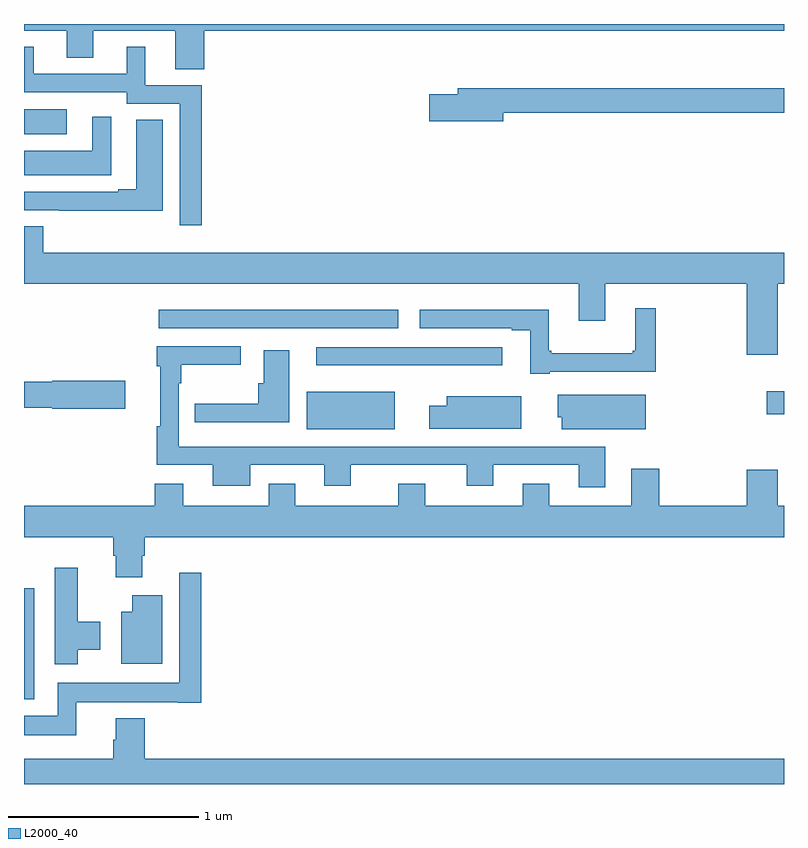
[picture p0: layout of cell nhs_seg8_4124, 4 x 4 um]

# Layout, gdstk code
import gdstk
lib = gdstk.Library(unit=1e-6, precision=1e-09)
def R(c, l, rs):  # rectangles x0, y0, x1, y1
    for r in rs: c.add(gdstk.rectangle(r[:2], r[2:], *l))
def P(c, l, *ps):  # polygons
    for p in ps: c.add(gdstk.Polygon(p, *l))
L2000_40 = (2000, 40)

nhs_seg8_4124 = lib.new_cell('nhs_seg8_4124')
R(nhs_seg8_4124, L2000_40, [(365,1082.345,365.055,1082.929), (366.488,1083.767,366.952,1083.964), (368.91,1083.845,369,1083.967), (366.537,1084.103,367.516,1084.2), (365.709,1084.299,366.97,1084.396), (365,1085.321,365.224,1085.452)])
P(nhs_seg8_4124, L2000_40, [(365,1085.864),(365.225,1085.864),(365.225,1085.722),(365.365,1085.722),(365.365,1085.864),(365.795,1085.864),(365.795,1085.662),(365.948,1085.662),(365.948,1085.864),(369,1085.864),(369,1085.9),(365,1085.9)],
  [(365.936,1085.577),(365.638,1085.577),(365.638,1085.779),(365.54,1085.779),(365.54,1085.637),(365.05,1085.637),(365.05,1085.779),(365,1085.779),(365,1085.541),(365.541,1085.541),(365.541,1085.481),(365.82,1085.481),(365.82,1084.842),(365.936,1084.842)],
  [(367.522,1085.434),(369,1085.434),(369,1085.563),(367.283,1085.563),(367.283,1085.529),(367.134,1085.529),(367.134,1085.387),(367.522,1085.387)],
  [(365.458,1085.413),(365.36,1085.413),(365.36,1085.233),(365,1085.233),(365,1085.105),(365.458,1085.105)],
  [(365.731,1085.395),(365.591,1085.395),(365.591,1085.029),(365.495,1085.029),(365.495,1085.016),(365,1085.016),(365,1084.92),(365.185,1084.92),(365.185,1084.918),(365.731,1084.918)],
  [(368.968,1084.532),(369,1084.532),(369,1084.696),(365.102,1084.696),(365.102,1084.835),(365,1084.835),(365,1084.532),(367.919,1084.532),(367.919,1084.338),(368.059,1084.338),(368.059,1084.532),(368.804,1084.532),(368.804,1084.158),(368.968,1084.158)],
  [(367.768,1084.071),(368.326,1084.071),(368.326,1084.405),(368.216,1084.405),(368.216,1084.18),(368.205,1084.18),(368.205,1084.168),(367.774,1084.168),(367.774,1084.18),(367.762,1084.18),(367.762,1084.396),(367.083,1084.396),(367.083,1084.299),(367.568,1084.299),(367.568,1084.287),(367.664,1084.287),(367.664,1084.059),(367.768,1084.059)],
  [(368.059,1083.675),(365.814,1083.675),(365.814,1084.01),(365.827,1084.01),(365.827,1084.106),(366.142,1084.106),(366.142,1084.203),(365.698,1084.203),(365.698,1084.1),(365.717,1084.1),(365.717,1083.782),(365.698,1083.782),(365.698,1083.579),(365.993,1083.579),(365.993,1083.47),(366.19,1083.47),(366.19,1083.579),(366.581,1083.579),(366.581,1083.47),(366.721,1083.47),(366.721,1083.579),(367.331,1083.579),(367.331,1083.47),(367.471,1083.47),(367.471,1083.579),(367.919,1083.579),(367.919,1083.462),(368.059,1083.462)],
  [(366.397,1084.183),(366.263,1084.183),(366.263,1084.009),(366.233,1084.009),(366.233,1083.902),(365.899,1083.902),(365.899,1083.805),(366.007,1083.805),(366.007,1083.804),(366.397,1083.804)],
  [(365.533,1084.022),(365.148,1084.022),(365.148,1084.016),(365,1084.016),(365,1083.88),(365.148,1083.88),(365.148,1083.875),(365.533,1083.875)],
  [(368.272,1083.949),(367.808,1083.949),(367.808,1083.831),(367.829,1083.831),(367.829,1083.767),(368.272,1083.767)],
  [(367.618,1083.94),(367.226,1083.94),(367.226,1083.892),(367.134,1083.892),(367.134,1083.77),(367.618,1083.77)],
  [(365.623,1083.102),(365.636,1083.102),(365.636,1083.2),(369,1083.2),(369,1083.364),(368.968,1083.364),(368.968,1083.553),(368.804,1083.553),(368.804,1083.364),(368.343,1083.364),(368.343,1083.559),(368.195,1083.559),(368.195,1083.364),(367.765,1083.364),(367.765,1083.481),(367.625,1083.481),(367.625,1083.364),(367.111,1083.364),(367.111,1083.481),(366.971,1083.481),(366.971,1083.364),(366.427,1083.364),(366.427,1083.481),(366.287,1083.481),(366.287,1083.364),(365.839,1083.364),(365.839,1083.481),(365.687,1083.481),(365.687,1083.364),(365,1083.364),(365,1083.2),(365.471,1083.2),(365.471,1083.102),(365.483,1083.102),(365.483,1082.988),(365.623,1082.988)],
  [(365.284,1082.606),(365.401,1082.606),(365.401,1082.754),(365.284,1082.754),(365.284,1083.037),(365.162,1083.037),(365.162,1082.529),(365.284,1082.529)],
  [(365.276,1082.33),(365.81,1082.33),(365.81,1082.328),(365.933,1082.328),(365.933,1083.013),(365.817,1083.013),(365.817,1082.434),(365.178,1082.434),(365.178,1082.26),(365,1082.26),(365,1082.156),(365.276,1082.156)],
  [(365.728,1082.893),(365.57,1082.893),(365.57,1082.806),(365.513,1082.806),(365.513,1082.534),(365.728,1082.534)],
  [(369,1082.032),(365.636,1082.032),(365.636,1082.245),(365.483,1082.245),(365.483,1082.133),(365.471,1082.133),(365.471,1082.032),(365,1082.032),(365,1081.9),(369,1081.9)])

lib.write_gds('nhs_seg8_4124.gds')
